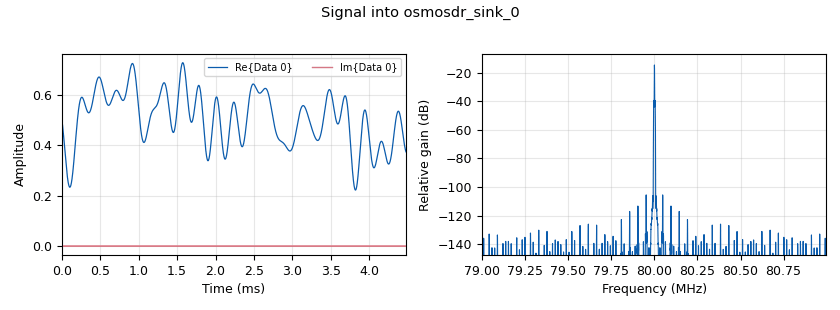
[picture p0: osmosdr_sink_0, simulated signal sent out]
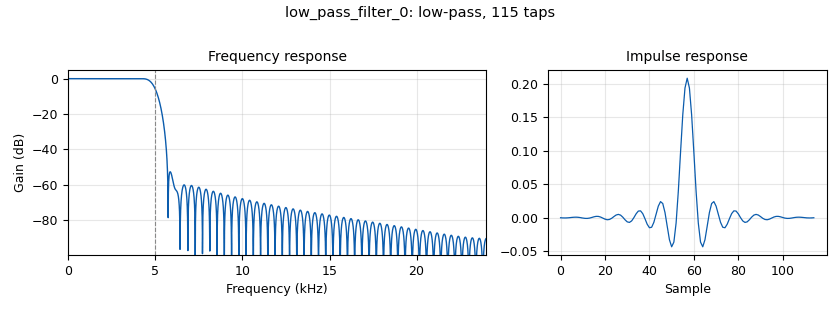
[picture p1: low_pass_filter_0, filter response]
options:
  parameters:
    description: AM noise transmitter via HackRF at 80 MHz
    generate_options: no_gui
    id: am_noise_tx
    output_language: python
    run_options: run
    title: AM Noise TX
  states: {}

blocks:
- name: samp_rate
  id: variable
  parameters:
    value: '2000000'
  states: {}
- name: audio_rate
  id: variable
  parameters:
    value: '48000'
  states: {}
- name: center_freq
  id: variable
  parameters:
    value: '80000000'
  states: {}
- name: mod_index
  id: variable
  parameters:
    value: '0.5'
  states: {}
- name: carrier_level
  id: variable
  parameters:
    value: '0.5'
  states: {}
- name: analog_noise_source_x_0
  id: analog_noise_source_x
  parameters:
    amp: mod_index
    noise_type: analog.GR_GAUSSIAN
    seed: '0'
    type: float
  states: {}
- name: low_pass_filter_0
  id: low_pass_filter
  parameters:
    cutoff_freq: '5000'
    decim: '1'
    gain: '1'
    samp_rate: audio_rate
    type: fir_filter_fff
    width: '1000'
    win: window.WIN_HAMMING
  states: {}
- name: blocks_add_const_vxx_0
  id: blocks_add_const_vxx
  parameters:
    comment: 'DC offset: 1 + message'
    const: '1'
    type: float
  states: {}
- name: blocks_float_to_complex_0
  id: blocks_float_to_complex
  parameters: {}
  states: {}
- name: analog_sig_source_x_0
  id: analog_sig_source_x
  parameters:
    amp: carrier_level
    comment: AM carrier (complex, 0 Hz baseband)
    freq: '0'
    offset: '0'
    phase: '0'
    samp_rate: audio_rate
    type: complex
    waveform: analog.GR_COS_WAVE
  states: {}
- name: blocks_multiply_xx_0
  id: blocks_multiply_xx
  parameters:
    comment: 'AM: carrier * (1 + msg)'
    type: complex
  states: {}
- name: rational_resampler_xxx_0
  id: rational_resampler_xxx
  parameters:
    comment: 48k -> 2M
    decim: audio_rate
    fbw: '0.4'
    interp: samp_rate
    type: ccc
  states: {}
- name: osmosdr_sink_0
  id: osmosdr_sink
  parameters:
    bb_gain0: '20'
    center_freq0: center_freq
    freq0: center_freq
    gain0: '0'
    if_gain0: '20'
    samp_rate: samp_rate
    type: fc32
  states: {}

connections:
- [analog_noise_source_x_0, '0', low_pass_filter_0, '0']
- [low_pass_filter_0, '0', blocks_add_const_vxx_0, '0']
- [blocks_add_const_vxx_0, '0', blocks_float_to_complex_0, '0']
- [blocks_float_to_complex_0, '0', blocks_multiply_xx_0, '0']
- [analog_sig_source_x_0, '0', blocks_multiply_xx_0, '1']
- [blocks_multiply_xx_0, '0', rational_resampler_xxx_0, '0']
- [rational_resampler_xxx_0, '0', osmosdr_sink_0, '0']

metadata:
  file_format: 1
  grc_version: 3.10.12.0
